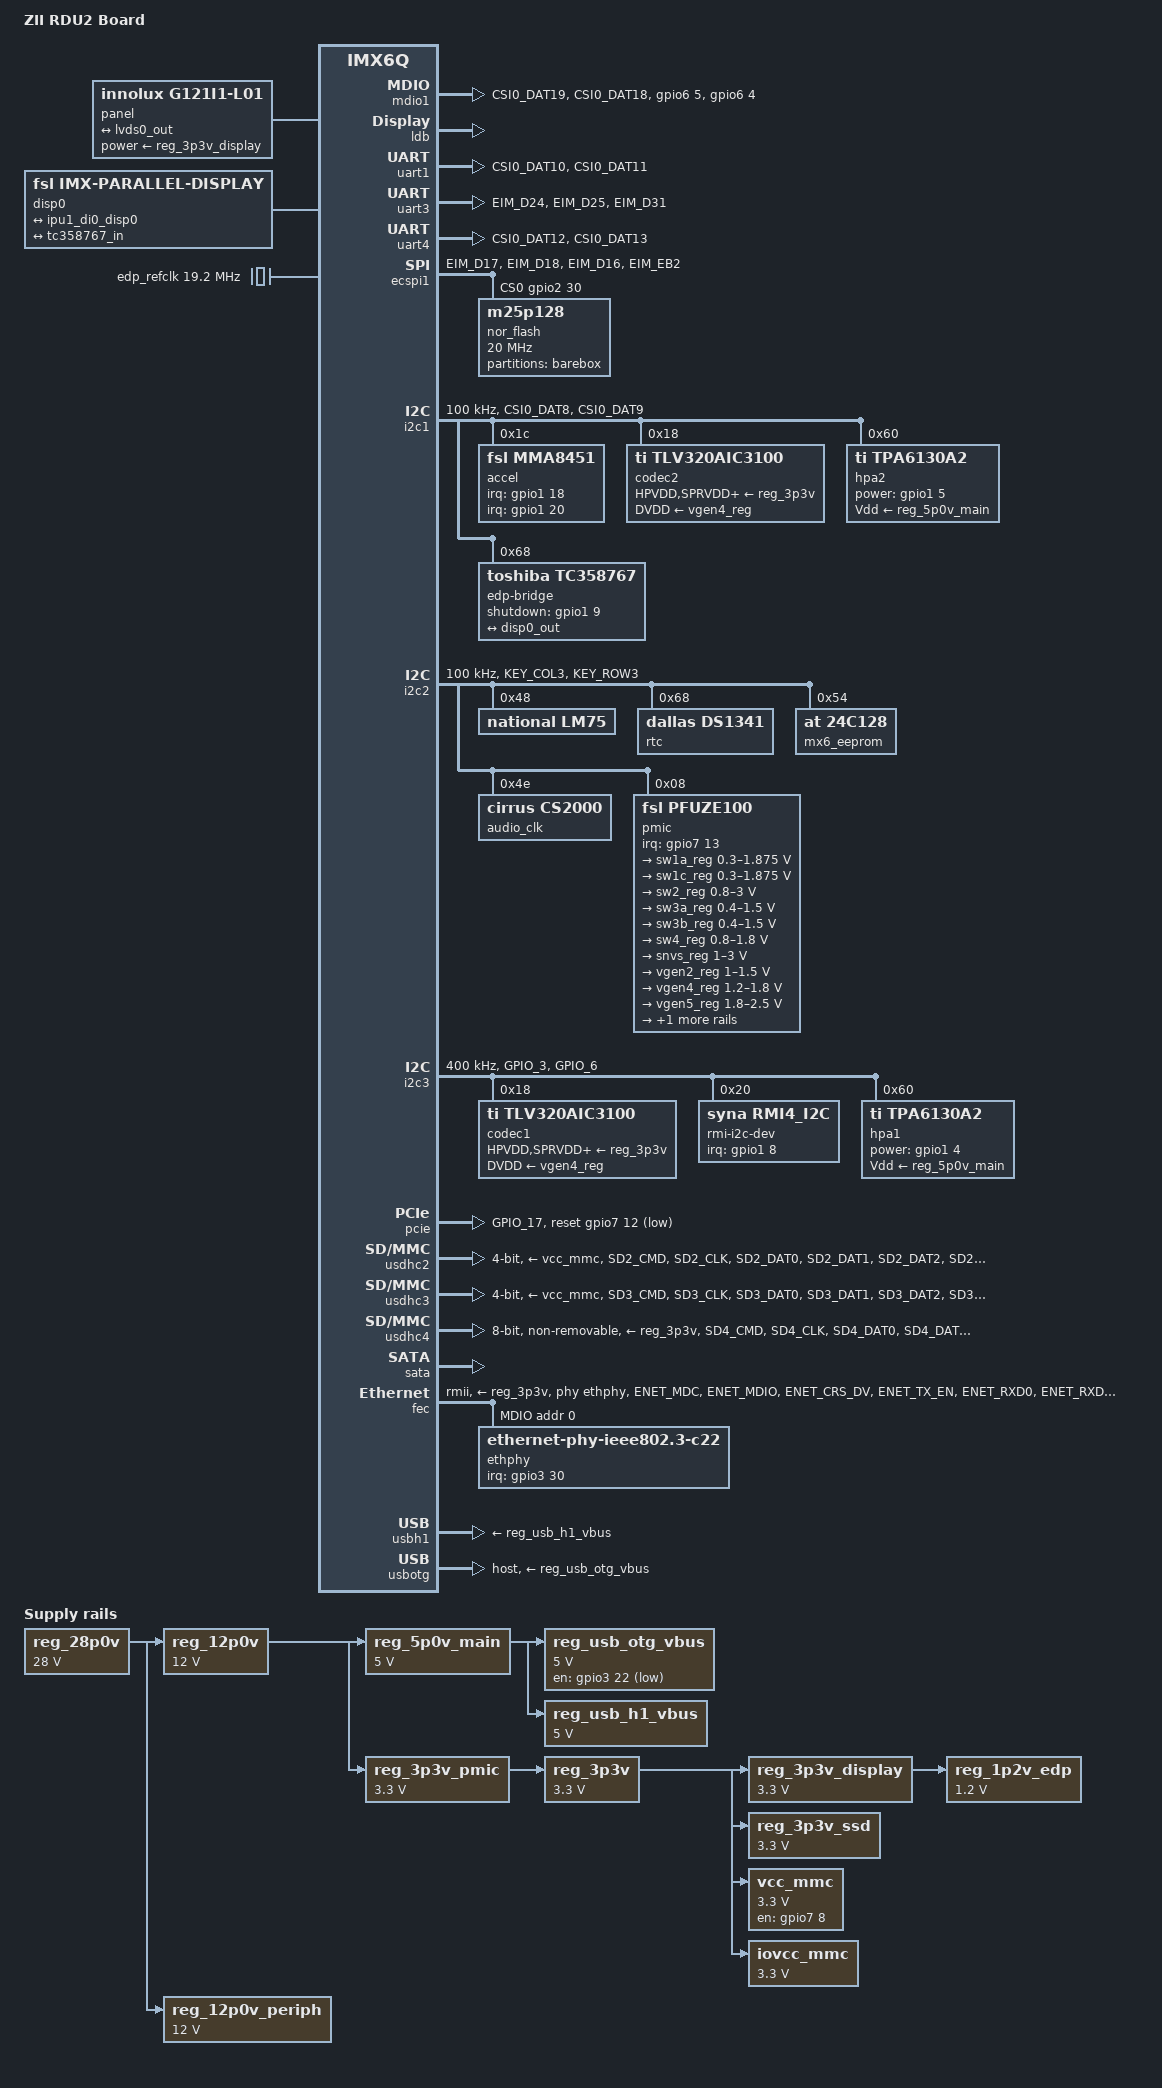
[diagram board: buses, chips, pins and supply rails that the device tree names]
/*
 * Copyright 2012 Freescale Semiconductor, Inc.
 * Copyright 2011 Linaro Ltd.
 *
 * The code contained herein is licensed under the GNU General Public
 * License. You may obtain a copy of the GNU General Public License
 * Version 2 or later at the following locations:
 *
 * http://www.opensource.org/licenses/gpl-license.html
 * http://www.gnu.org/copyleft/gpl.html
 */

/dts-v1/;
#include <dt-bindings/gpio/gpio.h>
#include "imx6q.dtsi"

/ {
	model = "ZII RDU2 Board";
	compatible = "zii,imx6q-zii-rdu2", "fsl,imx6q";

	chosen {
		linux,stdout-path = &uart1;
		// FIXME mdio-gpio mdio: failed to get alias id
//		mdio-gpio0 = &mdio1;
	};

	mdio1: mdio {
		compatible = "virtual,mdio-gpio";
		#address-cells = <1>;
		#size-cells = <0>;
		pinctrl-names = "default";
		pinctrl-0 = <&pinctrl_mdio1>;
		gpios = <&gpio6 5 GPIO_ACTIVE_HIGH
		     	&gpio6 4 GPIO_ACTIVE_HIGH>;
	};

	regulators {
		compatible = "simple-bus";

		reg_28p0v: 28p0v {
			/* main power in */
			compatible = "regulator-fixed";
			regulator-name = "28P0V";
			regulator-min-microvolt = <28000000>;
			regulator-max-microvolt = <28000000>;
			regulator-always-on;
		};

		reg_12p0v: 12p0v {
			/* main internal power */
			compatible = "regulator-fixed";
			vin-supply = <&reg_28p0v>;
			regulator-name = "12P0V";
			regulator-min-microvolt = <12000000>;
			regulator-max-microvolt = <12000000>;
			regulator-always-on;
		};

		reg_12p0v_periph: 12p0vperiph {
			compatible = "regulator-fixed";
			vin-supply = <&reg_28p0v>;
			regulator-name = "12P0V-PERIPH";
			regulator-min-microvolt = <12000000>;
			regulator-max-microvolt = <12000000>;
			/* controlled via "environment processor" */
			regulator-always-on;
		};

		reg_5p0v_main: 5p0vmain {
			compatible = "regulator-fixed";
			vin-supply = <&reg_12p0v>;
			regulator-name = "5P0MAIN";
			regulator-min-microvolt = <5000000>;
			regulator-max-microvolt = <5000000>;
			/* controlled via "environment processor" */
			regulator-always-on;
		};

		reg_usb_otg_vbus: regulator@0 {
			compatible = "regulator-fixed";
			pinctrl-names = "default";
			pinctrl-0 = <&pinctrl_usb_otg_supply>;
			vin-supply = <&reg_5p0v_main>;
			regulator-name = "usb_otg_vbus";
			regulator-min-microvolt = <5000000>;
			regulator-max-microvolt = <5000000>;
			gpio = <&gpio3 22 GPIO_ACTIVE_LOW>;
			startup-delay-us = <1000>;
		};

		reg_usb_h1_vbus: regulator@1 {
			compatible = "regulator-fixed";
			vin-supply = <&reg_5p0v_main>;
			regulator-name = "usb_h1_vbus";
			regulator-min-microvolt = <5000000>;
			regulator-max-microvolt = <5000000>;
		};

		reg_3p3v_pmic: 3p3vpmic {
			compatible = "regulator-fixed";
			vin-supply = <&reg_12p0v>;
			regulator-name = "3P3VPMIC";
			regulator-min-microvolt = <3300000>;
			regulator-max-microvolt = <3300000>;
			/* controlled via "environment processor" */
			regulator-always-on;
		};

		reg_3p3v: 3p3v {
			compatible = "regulator-fixed";
			vin-supply = <&reg_3p3v_pmic>;
			regulator-name = "3P3V";
			regulator-min-microvolt = <3300000>;
			regulator-max-microvolt = <3300000>;
			/* controlled via "&vgen6_reg" */
			regulator-always-on;
		};

		reg_3p3v_display: 3p3vdisplay {
			compatible = "regulator-fixed";
			vin-supply = <&reg_3p3v>;
			regulator-name = "3P3V-DISPLAY";
			regulator-min-microvolt = <3300000>;
			regulator-max-microvolt = <3300000>;
			/* controlled via "environment processor" */
			regulator-always-on;
		};

		reg_1p2v_edp: 1p2vedp {
			compatible = "regulator-fixed";
			vin-supply = <&reg_3p3v_display>;
			regulator-name = "3P3V-EDP";
			regulator-min-microvolt = <1200000>;
			regulator-max-microvolt = <1200000>;
			regulator-always-on;
		};

		reg_3p3v_ssd: 3p3vssd {
			compatible = "regulator-fixed";
			vin-supply = <&reg_3p3v>;
			regulator-name = "3P3V-SSD";
			regulator-min-microvolt = <3300000>;
			regulator-max-microvolt = <3300000>;
			/* controlled via "environment processor" */
			regulator-always-on;
		};

		/* MMC power supply (for both SD cards at once) */
		vcc_mmc: sdcards_power_supply {
			compatible = "regulator-fixed";
			vin-supply = <&reg_3p3v>;
			regulator-name = "mmc_supply";
			regulator-min-microvolt = <3300000>;
			regulator-max-microvolt = <3300000>;
			pinctrl-names = "default";
			pinctrl-0 = <&pinctrl_mmc_vcc_supply>;
			/* Rev B only */
			gpio = <&gpio7 8 GPIO_ACTIVE_HIGH>;
			startup-delay-us = <1000>;
			enable-active-high;
			regulator-always-on;
			regulator-boot-on;
		};

		/* MMC IO voltage select */
		iovcc_mmc: sdcard_io_supply {
			compatible = "regulator-fixed";
			vin-supply = <&reg_3p3v>;
			regulator-name = "mmc_io_supply";
			regulator-min-microvolt = <3300000>;
			regulator-max-microvolt = <3300000>;
			regulator-always-on;
		};
	};

	panel {
		compatible = "innolux,g121i1-l01";
		/* backlight state and brightness is controlled via "environment processor" */
		power-supply = <&reg_3p3v_display>;
		/* NANDF_D4 -> LVDS_DATA_FORMAT = MX6QDL_PAD_NANDF_D4__GPIO2_IO04(?) */

		port {
			panel_in: endpoint {
				remote-endpoint = <&lvds0_out>;
			};
		};
	};

	disp0: disp0 {
		#address-cells = <1>;
		#size-cells = <0>;
		compatible = "fsl,imx-parallel-display";
		pinctrl-names = "default";
		pinctrl-0 = <&pinctrl_disp0>;

		port@0 {
			reg = <0>;

			disp0_in_0: endpoint {
				remote-endpoint = <&ipu1_di0_disp0>;
			};
		};

		port@1 {
			reg = <1>;

			disp0_out: endpoint {
				remote-endpoint = <&tc358767_in>;
			};
		};
	};

	edp_refclk: edp-refclk {
		#clock-cells = <0>;
		compatible = "fixed-clock";
		clock-frequency = <19200000>;
	};
};

/* connections between PFUZE100 and i.MX6 */

&reg_arm {
	vin-supply = <&sw1a_reg>;
};

&reg_pu {
	vin-supply = <&sw1c_reg>;
};

&reg_soc {
	vin-supply = <&sw1c_reg>;
};

&ldb {
	status = "okay";

	lvds-channel@0 {
		fsl,data-mapping = "spwg";
		fsl,data-width = <24>;
		crtc = "ipu2-di0";
		status = "okay";
		primary;

		port@4 {
			reg = <4>;

			lvds0_out: endpoint {
				remote-endpoint = <&panel_in>;
			};
		};
	};
};

&uart1 {
	/* debug console */
	pinctrl-names = "default";
	pinctrl-0 = <&pinctrl_uart1>;
	status = "okay";
};

&uart3 {
	/* RS485 */
	pinctrl-names = "default";
	pinctrl-0 = <&pinctrl_uart3>;
	fsl,uart-has-rtscts;
	linux,rs485-enabled-at-boot-time;
	status = "okay";
};

&uart4 {
	/* communication with the environment processor */
	pinctrl-names = "default";
	pinctrl-0 = <&pinctrl_uart4>;
	status = "okay";
};

&ecspi1 {
	fsl,spi-num-chipselects = <1>;
	cs-gpios = <&gpio2 30 0>;
	pinctrl-names = "default";
	pinctrl-0 = <&pinctrl_ecspi1>;
	status = "okay";

	nor_flash: m25p128@0 {
		#address-cells = <1>;
		#size-cells = <1>;
		compatible = "m25p128";
		spi-max-frequency = <20000000>;
		reg = <0>;

		partition@0 {
			label = "barebox";
			reg = <0x0 0x100000>;
		};
	};
};

&i2c1 {
	/* 1.8 V IO voltage */
	clock-frequency = <100000>;
	pinctrl-names = "default";
	pinctrl-0 = <&pinctrl_i2c1>;
	status = "okay";

	/* external NFC controller */

	/* external EDP */

	/* ACCEL */
	accel: MMA8451QT@1c {
		pinctrl-names = "default";
		pinctrl-0 = <&pinctrl_accel>;
		compatible = "fsl,mma8451";
		reg = <0x1c>;
		interrupt-names = "int1", "int2";
		interrupts-extended = <&gpio1 18 GPIO_ACTIVE_LOW>,
				<&gpio1 20 GPIO_ACTIVE_LOW>;
	};

	/* Audio dac2 - NEED TO LOOK INTO DRIVER */
	codec2: tlv320dac3100@18 {
		compatible = "ti,tlv320aic3100";
		pinctrl-names = "default";
		pinctrl-0 = <&pinctrl_codec2>;
		reg = <0x18>;
		#sound-dai-cells = <0>;
		HPVDD-supply = <&reg_3p3v>;
		SPRVDD-supply = <&reg_3p3v>;
		SPLVDD-supply = <&reg_3p3v>;
		AVDD-supply = <&reg_3p3v>;
		IOVDD-supply = <&reg_3p3v>;
		DVDD-supply = <&vgen4_reg>;
	};

	hpa2: tpa6130a2@60 {
		pinctrl-names = "default";
		pinctrl-0 = <&pinctrl_tpa2>;
		compatible = "ti,tpa6130a2";
		reg = <0x60>;
		power-gpio = <&gpio1 5 GPIO_ACTIVE_HIGH>;
		Vdd-supply = <&reg_5p0v_main>;
	};

	edp-bridge@68 {
		compatible = "toshiba,tc358767";
		reg = <0x68>;
		pinctrl-names = "default";
		pinctrl-0 = <&pinctrl_tc358767>;
		shutdown-gpios = <&gpio1 9 GPIO_ACTIVE_HIGH>;
		clock-names = "ref";
		clocks = <&edp_refclk>;

		ports {
			#address-cells = <1>;
			#size-cells = <0>;

			port@1 {
				reg = <1>;

				tc358767_in: endpoint {
					remote-endpoint = <&disp0_out>;
				};
			};
		};
	};
};

&i2c2 {
	/* 3.3 V IO voltage */
	clock-frequency = <100000>;
	pinctrl-names = "default";
	pinctrl-0 = <&pinctrl_i2c2>;
	status = "okay";

	lm75@48 {
		compatible = "national,lm75";
		reg = <0x48>;
	};

	rtc: ds1341@68 {
		compatible = "dallas,ds1341";
		reg = <0x68>;
	};

	mx6_eeprom: at24@54 {
		compatible = "at,24c128";
		pagesize = <32>; /* TODO: VERIFY PAGE SIZE */
		reg = <0x54>;
	};

	/* external WD */

	/* Audio clock */
	audio_clk: cs2000@4e {
		pinctrl-names = "default";
		pinctrl-0 = <&pinctrl_cs2000>;
		compatible = "cirrus,cs2000";
		reg = <0x4e>;
	};

	pmic: pfuze100@08 {
		compatible = "fsl,pfuze100";
		pinctrl-names = "default";
		pinctrl-0 = <&pinctrl_pfuze100_irq>;
		reg = <0x08>;
		interrupts-extended = <&gpio7 13 GPIO_ACTIVE_LOW>;

		regulators {
			/* VDDCORE */
			sw1a_reg: sw1ab {
				vin-supply = <&reg_3p3v_pmic>;
				regulator-min-microvolt = <300000>;
				regulator-max-microvolt = <1875000>;
				regulator-boot-on;
				regulator-always-on;
				regulator-ramp-delay = <6250>;
			};

			/* VDDSOC */
			sw1c_reg: sw1c {
				vin-supply = <&reg_3p3v_pmic>;
				regulator-min-microvolt = <300000>;
				regulator-max-microvolt = <1875000>;
				regulator-boot-on;
				regulator-always-on;
				regulator-ramp-delay = <6250>;
			};

			/* VDDHIGH_3V0 */
			sw2_reg: sw2 {
				vin-supply = <&reg_3p3v_pmic>;
				regulator-min-microvolt = <800000>;
				regulator-max-microvolt = <3000000>;
				regulator-boot-on;
				regulator-always-on;
			};

			/* DDR_1V5 */
			sw3a_reg: sw3a {
				vin-supply = <&reg_3p3v_pmic>;
				regulator-min-microvolt = <400000>;
				regulator-max-microvolt = <1500000>;
				regulator-boot-on;
				regulator-always-on;
			};

			/* DDR_1V5 */
			sw3b_reg: sw3b {
				vin-supply = <&reg_3p3v_pmic>;
				regulator-min-microvolt = <400000>;
				regulator-max-microvolt = <1500000>;
				regulator-boot-on;
				regulator-always-on;
			};

			/* VGEN_1V8 */
			sw4_reg: sw4 {
				vin-supply = <&reg_3p3v_pmic>;
				regulator-min-microvolt = <800000>;
				regulator-max-microvolt = <1800000>;
				/* FIXME */
				regulator-boot-on;
				regulator-always-on;
			};
#if 0
			swbst_reg: swbst {
				/* not used */
				vin-supply = <&reg_3p3v_pmic>;
				regulator-min-microvolt = <5000000>;
				regulator-max-microvolt = <5150000>;
			};
#endif
			/* VSNVS_3V0 */
			snvs_reg: vsnvs {
				regulator-min-microvolt = <1000000>;
				regulator-max-microvolt = <3000000>;
				regulator-boot-on;
				regulator-always-on;
			};

			vref_reg: vrefddr {
				regulator-boot-on;
				regulator-always-on;
			};
#if 0
			vgen1_reg: vgen1 {
				vin-supply = <&sw2_reg>;
				/* not used */
				regulator-min-microvolt = <800000>;
				regulator-max-microvolt = <1200000>;
			};
#endif
			/* VGEN2_1V5 */
			vgen2_reg: vgen2 {
				vin-supply = <&sw2_reg>;
				regulator-min-microvolt = <1000000>;
				regulator-max-microvolt = <1500000>;
				regulator-always-on;
			};
#if 0
			vgen3_reg: vgen3 {
				vin-supply = <&reg_3p3v>;
				/* not used */
				regulator-min-microvolt = <1200000>;
				regulator-max-microvolt = <1800000>;
			};
#endif
			/* VGEN4_1V8 */
			vgen4_reg: vgen4 {
				vin-supply = <&reg_3p3v>;
				regulator-min-microvolt = <1200000>;
				regulator-max-microvolt = <1800000>;
				regulator-always-on;
			};

			/* VGEN5_2V5 -> LVDS supply */
			vgen5_reg: vgen5 {
				vin-supply = <&reg_3p3v_pmic>;
				regulator-min-microvolt = <1800000>;
				regulator-max-microvolt = <2500000>;
				regulator-always-on;
			};

			/* VGEN6_2V8 */
			vgen6_reg: vgen6 {
				vin-supply = <&reg_3p3v_pmic>;
				regulator-min-microvolt = <1800000>;
				regulator-max-microvolt = <2800000>;
				regulator-always-on;
			};
		};
	};
};

&i2c3 {
	/* 3.3 V IO voltage */
	clock-frequency = <400000>;
	pinctrl-names = "default";
	pinctrl-0 = <&pinctrl_i2c3>;
	status = "okay";

	/* Aaudio dac1 - NEED TO LOOK INTO DRIVER */
	codec1: tlv320dac3100@18 {
		compatible = "ti,tlv320aic3100";
		pinctrl-names = "default";
		pinctrl-0 = <&pinctrl_codec1>;
		reg = <0x18>;
		#sound-dai-cells = <0>;
		HPVDD-supply = <&reg_3p3v>;
		SPRVDD-supply = <&reg_3p3v>;
		SPLVDD-supply = <&reg_3p3v>;
		AVDD-supply = <&reg_3p3v>;
		IOVDD-supply = <&reg_3p3v>;
		DVDD-supply = <&vgen4_reg>;
	};

	rmi-i2c-dev@20 {
		compatible = "syna,rmi4_i2c";
		reg = <0x20>;
		#address-cells = <1>;
		#size-cells = <0>;
		pinctrl-names = "default";
		pinctrl-0 = <&pinctrl_ts>;

		interrupt-parent = <&gpio1>;
		interrupts = <8 IRQ_TYPE_EDGE_FALLING>;

		rmi4-f01@1 {
			reg = <0x1>;
			syna,nosleep-mode = <1>;
		};

                rmi4-f11@11 {
			reg = <0x11>;
			touchscreen-inverted-y;
			touchscreen-swapped-x-y;
			syna,sensor-type = <1>;
                };
        };

	hpa1: tpa6130a2@60 {
		pinctrl-names = "default";
		pinctrl-0 = <&pinctrl_tpa1>;
		compatible = "ti,tpa6130a2";
		reg = <0x60>;
		power-gpio = <&gpio1 4 GPIO_ACTIVE_HIGH>;
		Vdd-supply = <&reg_5p0v_main>;
	};
};

&ipu1_di0_disp0 {
        remote-endpoint = <&disp0_in_0>;
};

&pcie {
	pinctrl-names = "default";
	pinctrl-0 = <&pinctrl_pcie>;
	reset-gpio = <&gpio7 12 GPIO_ACTIVE_LOW>;
	status = "okay";
};


&usdhc2 {
	pinctrl-names = "default", "state_100mhz", "state_200mhz";
	pinctrl-0 = <&pinctrl_usdhc2>;
	pinctrl-1 = <&pinctrl_usdhc2_100mhz>;
	pinctrl-2 = <&pinctrl_usdhc2_200mhz>;
	bus-width = <4>;
	cd-gpios = <&gpio2 2 GPIO_ACTIVE_LOW>;
	wp-gpios = <&gpio2 3 GPIO_ACTIVE_HIGH>;
	vmmc-supply = <&vcc_mmc>;
	vqmmc-supply = <&iovcc_mmc>;
	status = "okay";
};

&usdhc3 {
	pinctrl-names = "default", "state_100mhz", "state_200mhz";
	pinctrl-0 = <&pinctrl_usdhc3>;
	pinctrl-1 = <&pinctrl_usdhc3_100mhz>;
	pinctrl-2 = <&pinctrl_usdhc3_200mhz>;
	bus-width = <4>;
	cd-gpios = <&gpio2 0 GPIO_ACTIVE_LOW>;
	wp-gpios = <&gpio2 1 GPIO_ACTIVE_HIGH>;
	vmmc-supply = <&vcc_mmc>;
	vqmmc-supply = <&iovcc_mmc>;
	status = "okay";
};

&usdhc4 {
	pinctrl-names = "default";
	pinctrl-0 = <&pinctrl_usdhc4>;
	bus-width = <8>;
	vmmc-supply = <&reg_3p3v>;
	vqmmc-supply = <&reg_3p3v>;
	non-removable;
	no-1-8-v;
	status = "okay";
};

&sata {
	status = "okay";
	target-supply = <&reg_3p3v_ssd>;
};

&fec {
	pinctrl-names = "default";
	pinctrl-0 = <&pinctrl_enet>;
	vcc-supply = <&vgen2_reg>;
	phy-mode = "rmii";
	phy-reset-gpios = <&gpio1 23 0 GPIO_ACTIVE_LOW>;
	status = "okay";
	phy-handle = <&ethphy>;
	phy-reset-duration = "100";
	phy-supply = <&reg_3p3v>;

	mdio {
		#address-cells = <1>;
		#size-cells = <0>;

		/* Micrel KSZ8091RNA1A, with its own 25 MHz crystal */
		ethphy: ethernet-phy@0 {
			pinctrl-names = "default";
			pinctrl-0 = <&pinctrl_rmii_phy_irq>;
			compatible = "ethernet-phy-ieee802.3-c22";
			reg = <0>;
			max-speed = <100>;
			/* interrupt can be low or high active, depending on bit 9 in register 0x1f */
			interrupts-extended = <&gpio3 30 GPIO_ACTIVE_LOW>;
		};
	};
};

&usbh1 {
	vbus-supply = <&reg_usb_h1_vbus>;
	status = "okay";
};

&usbotg {
	vbus-supply = <&reg_usb_otg_vbus>;
	disable-over-current;
	dr_mode = "host";
	status = "okay";
};

&iomuxc {
	pinctrl-names = "default";

	imx6qdl-ziirdu2 {
		pinctrl_hog: hoggrp {
			fsl,pins = <
				/* USB Charging Controller */
				MX6QDL_PAD_EIM_A25__GPIO5_IO02  	0x1b0b0 /*USB_ATT_DETn*/
				MX6QDL_PAD_EIM_D19__GPIO3_IO19  	0x1b0b0 /*USB_EMULATION*/
				MX6QDL_PAD_EIM_D20__GPIO3_IO20  	0x1b0b0 /*USB_MODE1*/
				MX6QDL_PAD_EIM_D21__GPIO3_IO21  	0x1b0b0 /*USB_ALERTn*/
				MX6QDL_PAD_EIM_D23__GPIO3_IO23  	0x1b0b0 /*USB_MODE2*/

				MX6QDL_PAD_GPIO_1__USB_OTG_ID		0x13020 /*USB_OTG_ID*/

				/* Test Points */
				MX6QDL_PAD_SD3_DAT4__GPIO7_IO01		0x1b0b0 /*TP20*/
				MX6QDL_PAD_SD3_DAT5__GPIO7_IO00		0x1b0b0 /*TP21*/
				MX6QDL_PAD_SD3_DAT6__GPIO6_IO18		0x1b0b0 /*TP22*/
				MX6QDL_PAD_SD3_DAT7__GPIO6_IO17		0x1b0b0 /*TP23*/
				MX6QDL_PAD_KEY_ROW2__GPIO4_IO11		0x1b0b0 /*TP19*/
				MX6QDL_PAD_NANDF_CS1__GPIO6_IO14	0x1b0b0 /*TP26*/
				MX6QDL_PAD_NANDF_D4__GPIO2_IO04		0x1b0b0 /*TP27*/
				MX6QDL_PAD_NANDF_D5__GPIO2_IO05		0x1b0b0 /*TP28*/
				MX6QDL_PAD_NANDF_D6__GPIO2_IO06		0x1b0b0 /*TP29*/
				MX6QDL_PAD_NANDF_D7__GPIO2_IO07		0x1b0b0 /*TP30*/
				MX6QDL_PAD_EIM_BCLK__GPIO6_IO31		0x1b0b0 /*TP25*/
				MX6QDL_PAD_CSI0_MCLK__GPIO5_IO19	0x1b0b0 /*TP39*/
				MX6QDL_PAD_CSI0_PIXCLK__GPIO5_IO18	0x1b0b0 /*TP40*/
				MX6QDL_PAD_CSI0_VSYNC__GPIO5_IO21	0x1b0b0 /*TP42*/
				MX6QDL_PAD_CSI0_DATA_EN__GPIO5_IO20	0x1b0b0 /*TP43*/
				MX6QDL_PAD_CSI0_DAT14__GPIO6_IO00	0x1b0b0 /*TP44*/
				MX6QDL_PAD_CSI0_DAT15__GPIO6_IO01	0x1b0b0 /*TP45*/
				MX6QDL_PAD_CSI0_DAT16__GPIO6_IO02	0x1b0b0 /*TP46*/
				MX6QDL_PAD_DI0_PIN4__GPIO4_IO20		0x1b0b0 /*TP41*/

				/* System Type */
				MX6QDL_PAD_EIM_D26__GPIO3_IO26		0x1b0b0 /*SYS_TYPE_3*/
				MX6QDL_PAD_EIM_D27__GPIO3_IO27		0x1b0b0 /*SYS_TYPE_2*/
				MX6QDL_PAD_EIM_D28__GPIO3_IO28		0x1b0b0 /*SYS_TYPE_1*/
				MX6QDL_PAD_EIM_D29__GPIO3_IO29		0x1b0b0 /*SYS_TYPE_0*/

				/* Boot Mode Selection Pins */
				MX6QDL_PAD_EIM_DA0__GPIO3_IO00		0x1b0b0 /*BT_CFG1_0*/
				MX6QDL_PAD_EIM_DA1__GPIO3_IO01		0x1b0b0 /*BT_CFG1_1*/
				MX6QDL_PAD_EIM_DA2__GPIO3_IO02		0x1b0b0 /*BT_CFG1_2*/
				MX6QDL_PAD_EIM_DA3__GPIO3_IO03		0x1b0b0 /*BT_CFG1_3*/
				MX6QDL_PAD_EIM_DA4__GPIO3_IO04		0x1b0b0 /*BT_CFG1_4*/
				MX6QDL_PAD_EIM_DA5__GPIO3_IO05		0x1b0b0 /*BT_CFG1_5*/
				MX6QDL_PAD_EIM_DA6__GPIO3_IO06		0x1b0b0 /*BT_CFG1_6*/
				MX6QDL_PAD_EIM_DA7__GPIO3_IO07		0x1b0b0 /*BT_CFG1_7*/

				MX6QDL_PAD_EIM_DA8__GPIO3_IO08		0x1b0b0 /*BT_CFG2_0*/
				MX6QDL_PAD_EIM_DA9__GPIO3_IO09		0x1b0b0 /*BT_CFG2_1*/
				MX6QDL_PAD_EIM_DA10__GPIO3_IO10		0x1b0b0 /*BT_CFG2_2*/
				MX6QDL_PAD_EIM_DA11__GPIO3_IO11		0x1b0b0 /*BT_CFG2_3*/
				MX6QDL_PAD_EIM_DA12__GPIO3_IO12		0x1b0b0 /*BT_CFG2_4*/
				MX6QDL_PAD_EIM_DA13__GPIO3_IO13		0x1b0b0 /*BT_CFG2_5*/
				MX6QDL_PAD_EIM_DA14__GPIO3_IO14		0x1b0b0 /*BT_CFG2_6*/
				MX6QDL_PAD_EIM_DA15__GPIO3_IO15		0x1b0b0 /*BT_CFG2_7*/

				MX6QDL_PAD_EIM_A16__GPIO2_IO22		0x1b0b0 /*BT_CFG3_0*/
				MX6QDL_PAD_EIM_A17__GPIO2_IO21		0x1b0b0 /*BT_CFG3_1*/
				MX6QDL_PAD_EIM_A18__GPIO2_IO20		0x1b0b0 /*BT_CFG3_2*/
				MX6QDL_PAD_EIM_A19__GPIO2_IO19		0x1b0b0 /*BT_CFG3_3*/
				MX6QDL_PAD_EIM_A20__GPIO2_IO18		0x1b0b0 /*BT_CFG3_4*/
				MX6QDL_PAD_EIM_A21__GPIO2_IO17		0x1b0b0 /*BT_CFG3_5*/
				MX6QDL_PAD_EIM_A22__GPIO2_IO16		0x1b0b0 /*BT_CFG3_6*/
				MX6QDL_PAD_EIM_A23__GPIO6_IO06		0x1b0b0 /*BT_CFG3_7*/

				MX6QDL_PAD_EIM_A24__GPIO5_IO04		0x1b0b0 /*BT_CFG4_0*/
				MX6QDL_PAD_EIM_WAIT__GPIO5_IO00		0x1b0b0 /*BT_CFG4_1*/
				MX6QDL_PAD_EIM_LBA__GPIO2_IO27		0x1b0b0 /*BT_CFG4_2*/
				MX6QDL_PAD_EIM_EB0__GPIO2_IO28		0x1b0b0 /*BT_CFG4_3*/
				MX6QDL_PAD_EIM_EB1__GPIO2_IO29		0x1b0b0 /*BT_CFG4_4*/
				MX6QDL_PAD_EIM_RW__GPIO2_IO26		0x1b0b0 /*BT_CFG4_5*/
				MX6QDL_PAD_EIM_EB3__GPIO2_IO31		0x1b0b0 /*BT_CFG4_7*/
			>;
		};

		pinctrl_codec1: dac1grp {
			fsl,pins = <
				MX6QDL_PAD_GPIO_0__GPIO1_IO00		0x40000038
			>;
		};

		pinctrl_codec2: dac2grp {
			fsl,pins = <
				MX6QDL_PAD_GPIO_2__GPIO1_IO02		0x40000038
			>;
		};

		pinctrl_cs2000: audioclkgrp{
			fsl,pins = <
				MX6QDL_PAD_GPIO_19__ENET_1588_EVENT0_OUT	0x40000038
			>;
		};

		pinctrl_accel: accelgrp {
			fsl,pins = <
				/* SoC internal pull-ups required */
				MX6QDL_PAD_SD1_CMD__GPIO1_IO18		0x4001b000
				MX6QDL_PAD_SD1_CLK__GPIO1_IO20		0x4001b000
			>;
		};

		pinctrl_tpa1: tpa6130-1grp {
			fsl,pins = <
				MX6QDL_PAD_GPIO_4__GPIO1_IO04		0x40000038
			>;
		};

		pinctrl_tpa2: tpa6130-2grp {
			fsl,pins = <
				MX6QDL_PAD_GPIO_5__GPIO1_IO05		0x40000038
			>;
		};

		pinctrl_usb_otg_supply: usbotggrp {
			fsl,pins = <
				MX6QDL_PAD_EIM_D22__GPIO3_IO22		0x40000038
			>;
		};

		/* touch screen controller interrupt */
		pinctrl_ts: tsgrp {
			fsl,pins = <
				MX6QDL_PAD_GPIO_8__GPIO1_IO08		0x1b0b0 /* INT_TOUCH# */
				MX6QDL_PAD_GPIO_7__GPIO1_IO07		0x1b0b0 /* RST_TOUCH# */
			>;
		};

		/* pfuze100 interrupt */
		pinctrl_pfuze100_irq: pfuze100grp {
			fsl,pins = <
				/* external 68k pull-up */
				MX6QDL_PAD_GPIO_18__GPIO7_IO13		0x40010000
			>;
		};

		pinctrl_rmii_phy_irq: phygrp {
			fsl,pins = <
				/* Phy interrupt, external 1k pull-up */
				MX6QDL_PAD_EIM_D30__GPIO3_IO30		0x40010000
			>;
		};

		/* SD cards power supply */
		pinctrl_mmc_vcc_supply: mmcsupply1grp {
			fsl,pins = <
				/* open drain @ 75 Ohm (FIXME resistance) */
				MX6QDL_PAD_SD3_RST__GPIO7_IO08		0x40000858
			>;
		};

		pinctrl_ecspi1: ecspi1grp {
			fsl,pins = <
				/*MX6QDL_PAD_EIM_D17__GPIO3_IO17	0x1b0b0*/
				MX6QDL_PAD_EIM_D17__ECSPI1_MISO		0x100b1
				MX6QDL_PAD_EIM_D18__ECSPI1_MOSI		0x100b1
				MX6QDL_PAD_EIM_D16__ECSPI1_SCLK		0x100b1
				/*MX6QDL_PAD_EIM_EB2__ECSPI1_SS0	0x100b1*/
				MX6QDL_PAD_EIM_EB2__GPIO2_IO30		0x1b0b1
				/*MX6QDL_PAD_KEY_COL2__ECSPI1_SS1	0x1b0b1
				MX6QDL_PAD_KEY_COL2__GPIO4_IO10*/
			>;
		};

		pinctrl_enet: enetgrp {
			fsl,pins = <
#if 1
				/* original */
				MX6QDL_PAD_ENET_MDC__ENET_MDC		0x1b0b0
				MX6QDL_PAD_ENET_MDIO__ENET_MDIO		0x1b0b0
				MX6QDL_PAD_ENET_CRS_DV__ENET_RX_EN	0x1b0b0
				MX6QDL_PAD_ENET_TX_EN__ENET_TX_EN	0x1b0b0
				MX6QDL_PAD_ENET_RXD0__ENET_RX_DATA0	0x1b0b0
				MX6QDL_PAD_ENET_RXD1__ENET_RX_DATA1	0x1b0b0
				MX6QDL_PAD_ENET_TXD0__ENET_TX_DATA0	0x1b0b0
				MX6QDL_PAD_ENET_TXD1__ENET_TX_DATA1	0x1b0b0
				MX6QDL_PAD_GPIO_16__ENET_REF_CLK 	0x4001b0a8
				MX6QDL_PAD_ENET_RX_ER__ENET_RX_ER	0x1b0b0
#else
				/* MDIO speed up to 5 MHz */
				MX6QDL_PAD_ENET_MDC__ENET_MDC		0x000b1
				/* external 1k pull-up */
				MX6QDL_PAD_ENET_MDIO__ENET_MDIO		0x100b1
				/* RMII 50 MHz */
				MX6QDL_PAD_ENET_CRS_DV__ENET_RX_EN	0x100f5
				MX6QDL_PAD_ENET_TX_EN__ENET_TX_EN	0x100f5
				MX6QDL_PAD_ENET_RXD0__ENET_RX_DATA0	0x100c0
				MX6QDL_PAD_ENET_RXD1__ENET_RX_DATA1	0x100c0
				MX6QDL_PAD_ENET_TXD0__ENET_TX_DATA0	0x100f5
				MX6QDL_PAD_ENET_TXD1__ENET_TX_DATA1	0x100f5
				/* 25 MHz input */
				MX6QDL_PAD_GPIO_16__ENET_REF_CLK 	0x40010040
				MX6QDL_PAD_ENET_RX_ER__ENET_RX_ER	0x100b0
#endif
				/* Phy reset, external 10k pull-down */
				MX6QDL_PAD_ENET_REF_CLK__GPIO1_IO23	0x40000038
			>;
		};

		pinctrl_ssi2: ssi3grp {
			fsl,pins = <
				MX6QDL_PAD_KEY_COL0__AUD5_TXC		0x130b0
				MX6QDL_PAD_KEY_ROW0__AUD5_TXD		0x130b0
				MX6QDL_PAD_KEY_COL1__AUD5_TXFS		0x130b0
			>;
		};

		pinctrl_i2c1: i2c1grp {
			fsl,pins = <
				/* FIXME internal/external pull-up */
				MX6QDL_PAD_CSI0_DAT8__I2C1_SDA		0x4001b8b1
				MX6QDL_PAD_CSI0_DAT9__I2C1_SCL		0x4001b8b1
			>;
		};

		pinctrl_i2c2: i2c2grp {
			fsl,pins = <
				/* FIXME internal/external pull-up */
				MX6QDL_PAD_KEY_COL3__I2C2_SCL		0x4001b8b1
				MX6QDL_PAD_KEY_ROW3__I2C2_SDA		0x4001b8b1
			>;
		};

		pinctrl_i2c3: i2c3grp {
			fsl,pins = <
				/* FIXME internal/external pull-up */
				MX6QDL_PAD_GPIO_3__I2C3_SCL		0x4001b8b1
				MX6QDL_PAD_GPIO_6__I2C3_SDA		0x4001b8b1
			>;
		};

		pinctrl_pcie: pciegrp {
			fsl,pins = <
				MX6QDL_PAD_GPIO_17__GPIO7_IO12		0x40010038
			>;
		};

		pinctrl_uart1: uart1grp {
			fsl,pins = <
				MX6QDL_PAD_CSI0_DAT10__UART1_TX_DATA	0x1b0b1
				MX6QDL_PAD_CSI0_DAT11__UART1_RX_DATA	0x1b0b1
			>;
		};

		pinctrl_uart3: uart3grp {
			fsl,pins = <
				MX6QDL_PAD_EIM_D24__UART3_TX_DATA	0x1b0b1
				MX6QDL_PAD_EIM_D25__UART3_RX_DATA	0x1b0b1
				/* TX enable */
				MX6QDL_PAD_EIM_D31__UART3_RTS_B		0x1b0b1
			>;
		};

		pinctrl_uart4: uart4grp {
			fsl,pins = <
				MX6QDL_PAD_CSI0_DAT12__UART4_TX_DATA	0x1b0b1
				MX6QDL_PAD_CSI0_DAT13__UART4_RX_DATA	0x1b0b1
			>;
		};

		pinctrl_usdhc2: usdhc2grp {
			fsl,pins = <
				/* external pull-up */
				MX6QDL_PAD_SD2_CMD__SD2_CMD		0x10059
				/* SoC internal pull ups required */
				MX6QDL_PAD_SD2_CLK__SD2_CLK		0x10069 /* 30 Ohm */
				MX6QDL_PAD_SD2_DAT0__SD2_DATA0		0x17059
				MX6QDL_PAD_SD2_DAT1__SD2_DATA1		0x17059
				MX6QDL_PAD_SD2_DAT2__SD2_DATA2		0x17059
				MX6QDL_PAD_SD2_DAT3__SD2_DATA3		0x17059
				/* WP, external pull-up */
				MX6QDL_PAD_NANDF_D3__GPIO2_IO03		0x40010040
				/* CD, external pull-up */
				MX6QDL_PAD_NANDF_D2__GPIO2_IO02		0x40010040
			>;
		};

		pinctrl_usdhc2_100mhz: usdhc2grp100mhz {
			fsl,pins = <
				/* external pull-up */
				MX6QDL_PAD_SD2_CMD__SD2_CMD		0x100b9
				/* SoC internal pull ups required */
				MX6QDL_PAD_SD2_CLK__SD2_CLK		0x100b9
				MX6QDL_PAD_SD2_DAT0__SD2_DATA0		0x170b9
				MX6QDL_PAD_SD2_DAT1__SD2_DATA1		0x170b9
				MX6QDL_PAD_SD2_DAT2__SD2_DATA2		0x170b9
				MX6QDL_PAD_SD2_DAT3__SD2_DATA3		0x170b9
				/* WP, external pull-up */
				MX6QDL_PAD_NANDF_D3__GPIO2_IO03		0x40010040
				/* CD, external pull-up */
				MX6QDL_PAD_NANDF_D2__GPIO2_IO02		0x40010040
			>;
		};

		pinctrl_usdhc2_200mhz: usdhc2grp200mhz {
			fsl,pins = <
				/* external pull-up */
				MX6QDL_PAD_SD2_CMD__SD2_CMD		0x100f9
				/* SoC internal pull ups required */
				MX6QDL_PAD_SD2_CLK__SD2_CLK		0x100f9
				MX6QDL_PAD_SD2_DAT0__SD2_DATA0		0x170f9
				MX6QDL_PAD_SD2_DAT1__SD2_DATA1		0x170f9
				MX6QDL_PAD_SD2_DAT2__SD2_DATA2		0x170f9
				MX6QDL_PAD_SD2_DAT3__SD2_DATA3		0x170f9
				/* WP, external pull-up */
				MX6QDL_PAD_NANDF_D3__GPIO2_IO03		0x40010040
				/* CD, external pull-up */
				MX6QDL_PAD_NANDF_D2__GPIO2_IO02		0x40010040
			>;
		};

		pinctrl_usdhc3: usdhc3grp {
			fsl,pins = <
				/* external pull-up */
				MX6QDL_PAD_SD3_CMD__SD3_CMD		0x10059
				/* SoC internal pull ups required */
				MX6QDL_PAD_SD3_CLK__SD3_CLK		0x10069 /* 30 Ohm */
				MX6QDL_PAD_SD3_DAT0__SD3_DATA0		0x17059
				MX6QDL_PAD_SD3_DAT1__SD3_DATA1		0x17059
				MX6QDL_PAD_SD3_DAT2__SD3_DATA2		0x17059
				MX6QDL_PAD_SD3_DAT3__SD3_DATA3		0x17059
				/* WP, external pull-up */
				MX6QDL_PAD_NANDF_D1__GPIO2_IO01		0x40010040
				/* CD, external pull-up */
				MX6QDL_PAD_NANDF_D0__GPIO2_IO00		0x40010040

			>;
		};

		pinctrl_usdhc3_100mhz: usdhc3grp100mhz {
			fsl,pins = <
				/* external pull-up */
				MX6QDL_PAD_SD3_CMD__SD3_CMD		0x100b9
				/* SoC internal pull ups required */
				MX6QDL_PAD_SD3_CLK__SD3_CLK		0x100b9
				MX6QDL_PAD_SD3_DAT0__SD3_DATA0		0x170b9
				MX6QDL_PAD_SD3_DAT1__SD3_DATA1		0x170b9
				MX6QDL_PAD_SD3_DAT2__SD3_DATA2		0x170b9
				MX6QDL_PAD_SD3_DAT3__SD3_DATA3		0x170b9
				/* WP, external pull-up */
				MX6QDL_PAD_NANDF_D1__GPIO2_IO01		0x40010040
				/* CD, external pull-up */
				MX6QDL_PAD_NANDF_D0__GPIO2_IO00		0x40010040

			>;
		};

		pinctrl_usdhc3_200mhz: usdhc3grp200mhz {
			fsl,pins = <
				/* external pull-up */
				MX6QDL_PAD_SD3_CMD__SD3_CMD		0x100f9
				/* SoC internal pull ups required */
				MX6QDL_PAD_SD3_CLK__SD3_CLK		0x100f9
				MX6QDL_PAD_SD3_DAT0__SD3_DATA0		0x170f9
				MX6QDL_PAD_SD3_DAT1__SD3_DATA1		0x170f9
				MX6QDL_PAD_SD3_DAT2__SD3_DATA2		0x170f9
				MX6QDL_PAD_SD3_DAT3__SD3_DATA3		0x170f9
				/* WP, external pull-up */
				MX6QDL_PAD_NANDF_D1__GPIO2_IO01		0x40010040
				/* CD, external pull-up */
				MX6QDL_PAD_NANDF_D0__GPIO2_IO00		0x40010040

			>;
		};

		pinctrl_usdhc4: usdhc4grp {
			fsl,pins = <
				MX6QDL_PAD_SD4_CMD__SD4_CMD		0x17059
				MX6QDL_PAD_SD4_CLK__SD4_CLK		0x10059
				MX6QDL_PAD_SD4_DAT0__SD4_DATA0		0x17059
				MX6QDL_PAD_SD4_DAT1__SD4_DATA1		0x17059
				MX6QDL_PAD_SD4_DAT2__SD4_DATA2		0x17059
				MX6QDL_PAD_SD4_DAT3__SD4_DATA3		0x17059
				MX6QDL_PAD_SD4_DAT4__SD4_DATA4		0x17059
				MX6QDL_PAD_SD4_DAT5__SD4_DATA5		0x17059
				MX6QDL_PAD_SD4_DAT6__SD4_DATA6		0x17059
				MX6QDL_PAD_SD4_DAT7__SD4_DATA7		0x17059
				MX6QDL_PAD_NANDF_ALE__SD4_RESET		0x1b0b1
			>;
		};

		pinctrl_mdio1: bitbangmdiogrp {
			fsl,pins = <
				/* Bitbang MDIO for DEB Switch */
				MX6QDL_PAD_CSI0_DAT19__GPIO6_IO05	0x4001b030 /*SWITCH_MDC*/
				MX6QDL_PAD_CSI0_DAT18__GPIO6_IO04	0x40018830 /*SWITCH_MDIO*/
			>;
		};

		pinctrl_disp0: disp0grp {
			fsl,pins = <
				MX6QDL_PAD_DI0_DISP_CLK__IPU1_DI0_DISP_CLK 0x100f9
				MX6QDL_PAD_DI0_PIN15__IPU1_DI0_PIN15       0x100f9
				MX6QDL_PAD_DI0_PIN2__IPU1_DI0_PIN02        0x100f9
				MX6QDL_PAD_DI0_PIN3__IPU1_DI0_PIN03        0x100f9
				MX6QDL_PAD_DISP0_DAT0__IPU1_DISP0_DATA00   0x100f9
				MX6QDL_PAD_DISP0_DAT1__IPU1_DISP0_DATA01   0x100f9
				MX6QDL_PAD_DISP0_DAT2__IPU1_DISP0_DATA02   0x100f9
				MX6QDL_PAD_DISP0_DAT3__IPU1_DISP0_DATA03   0x100f9
				MX6QDL_PAD_DISP0_DAT4__IPU1_DISP0_DATA04   0x100f9
				MX6QDL_PAD_DISP0_DAT5__IPU1_DISP0_DATA05   0x100f9
				MX6QDL_PAD_DISP0_DAT6__IPU1_DISP0_DATA06   0x100f9
				MX6QDL_PAD_DISP0_DAT7__IPU1_DISP0_DATA07   0x100f9
				MX6QDL_PAD_DISP0_DAT8__IPU1_DISP0_DATA08   0x100f9
				MX6QDL_PAD_DISP0_DAT9__IPU1_DISP0_DATA09   0x100f9
				MX6QDL_PAD_DISP0_DAT10__IPU1_DISP0_DATA10  0x100f9
				MX6QDL_PAD_DISP0_DAT11__IPU1_DISP0_DATA11  0x100f9
				MX6QDL_PAD_DISP0_DAT12__IPU1_DISP0_DATA12  0x100f9
				MX6QDL_PAD_DISP0_DAT13__IPU1_DISP0_DATA13  0x100f9
				MX6QDL_PAD_DISP0_DAT14__IPU1_DISP0_DATA14  0x100f9
				MX6QDL_PAD_DISP0_DAT15__IPU1_DISP0_DATA15  0x100f9
				MX6QDL_PAD_DISP0_DAT16__IPU1_DISP0_DATA16  0x100f9
				MX6QDL_PAD_DISP0_DAT17__IPU1_DISP0_DATA17  0x100f9
				MX6QDL_PAD_DISP0_DAT18__IPU1_DISP0_DATA18  0x100f9
				MX6QDL_PAD_DISP0_DAT19__IPU1_DISP0_DATA19  0x100f9
				MX6QDL_PAD_DISP0_DAT20__IPU1_DISP0_DATA20  0x100f9
				MX6QDL_PAD_DISP0_DAT21__IPU1_DISP0_DATA21  0x100f9
				MX6QDL_PAD_DISP0_DAT22__IPU1_DISP0_DATA22  0x100f9
				MX6QDL_PAD_DISP0_DAT23__IPU1_DISP0_DATA23  0x100f9
			>;
		};

		pinctrl_tc358767: tc358767grp {
			fsl,pins = <
				/* SD pin */
				MX6QDL_PAD_GPIO_9__GPIO1_IO09              0x10
			>;
		};
	};
};
